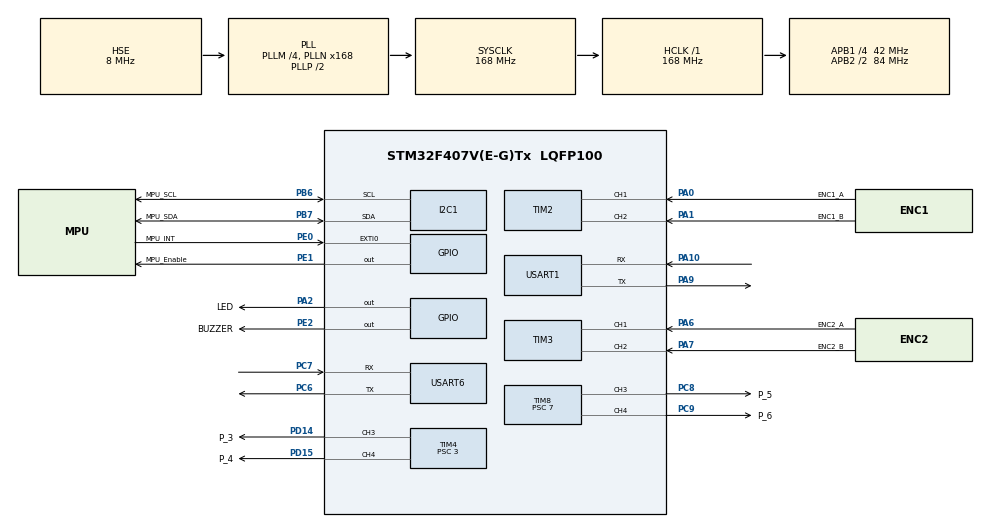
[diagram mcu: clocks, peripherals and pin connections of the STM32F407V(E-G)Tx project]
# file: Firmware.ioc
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Dma.Request0=USART1_RX
Dma.USART1_RX.0.Direction=DMA_PERIPH_TO_MEMORY
Dma.USART1_RX.0.FIFOMode=DMA_FIFOMODE_DISABLE
Dma.USART1_RX.0.Instance=DMA2_Stream2
Dma.USART1_RX.0.MemDataAlignment=DMA_MDATAALIGN_BYTE
Dma.USART1_RX.0.MemInc=DMA_MINC_ENABLE
Dma.USART1_RX.0.Mode=DMA_NORMAL
Dma.USART1_RX.0.PeriphDataAlignment=DMA_PDATAALIGN_BYTE
Dma.USART1_RX.0.PeriphInc=DMA_PINC_DISABLE
Dma.USART1_RX.0.Priority=DMA_PRIORITY_LOW
I2C1.I2C_Mode=I2C_Fast
Mcu.Family=STM32F4
Mcu.Name=STM32F407V(E-G)Tx
Mcu.Package=LQFP100
NVIC.DMA2_Stream2_IRQn=true\:0\:0\:false\:false\:true\:false\:true\:true
NVIC.EXTI0_IRQn=true\:0\:0\:false\:false\:true\:true\:true\:true
NVIC.PriorityGroup=NVIC_PRIORITYGROUP_4
NVIC.TIM2_IRQn=true\:0\:0\:false\:false\:true\:true\:true\:true
NVIC.TIM3_IRQn=true\:0\:0\:false\:false\:true\:true\:true\:true
NVIC.TIM5_IRQn=true\:0\:0\:false\:false\:true\:true\:true\:true
NVIC.USART1_IRQn=true\:0\:0\:false\:false\:true\:true\:true\:true
NVIC.USART6_IRQn=true\:0\:0\:false\:false\:true\:true\:true\:true
PA0-WKUP.GPIO_Label=ENC1_A
PA0-WKUP.GPIO_PuPd=GPIO_PULLUP
PA0-WKUP.Signal=S_TIM2_CH1_ETR
PA1.GPIO_Label=ENC1_B
PA1.GPIO_PuPd=GPIO_PULLUP
PA1.Signal=S_TIM2_CH2
PA10.Mode=Asynchronous
PA10.Signal=USART1_RX
PA2.GPIO_Label=LED
PA2.Signal=GPIO_Output
PA6.GPIO_Label=ENC2_A
PA6.GPIO_PuPd=GPIO_PULLUP
PA6.Signal=S_TIM3_CH1
PA7.GPIO_Label=ENC2_B
PA7.GPIO_PuPd=GPIO_PULLUP
PA7.Signal=S_TIM3_CH2
PA9.Mode=Asynchronous
PA9.Signal=USART1_TX
PB6.GPIO_Label=MPU_SCL
PB6.Mode=I2C
PB6.Signal=I2C1_SCL
PB7.GPIO_Label=MPU_SDA
PB7.Mode=I2C
PB7.Signal=I2C1_SDA
PC6.Mode=Asynchronous
PC6.Signal=USART6_TX
PC7.Mode=Asynchronous
PC7.Signal=USART6_RX
PC8.GPIO_Label=P_5
PC8.Signal=S_TIM8_CH3
PC9.GPIO_Label=P_6
PC9.Signal=S_TIM8_CH4
PD14.GPIO_Label=P_3
PD14.Signal=S_TIM4_CH3
PD15.GPIO_Label=P_4
PD15.Signal=S_TIM4_CH4
PE0.GPIO_Label=MPU_INT
PE0.Signal=GPXTI0
PE1.GPIO_Label=MPU_Enable
PE1.Signal=GPIO_Output
PE2.GPIO_Label=BUZZER
PE2.Signal=GPIO_Output
PH0-OSC_IN.Mode=HSE-External-Oscillator
PH0-OSC_IN.Signal=RCC_OSC_IN
PH1-OSC_OUT.Mode=HSE-External-Oscillator
PH1-OSC_OUT.Signal=RCC_OSC_OUT
ProjectManager.HeapSize=0x200
ProjectManager.StackSize=0x400
ProjectManager.TargetToolchain=MDK-ARM V5.32
RCC.48MHZClocksFreq_Value=84000000
RCC.AHBFreq_Value=168000000
RCC.APB1CLKDivider=RCC_HCLK_DIV4
RCC.APB1Freq_Value=42000000
RCC.APB1TimFreq_Value=84000000
RCC.APB2CLKDivider=RCC_HCLK_DIV2
RCC.APB2Freq_Value=84000000
RCC.APB2TimFreq_Value=168000000
RCC.CortexFreq_Value=168000000
RCC.HCLKFreq_Value=168000000
RCC.HSE_VALUE=8000000
RCC.HSI_VALUE=16000000
RCC.LSE_VALUE=32768
RCC.PLLM=4
RCC.PLLN=168
RCC.PLLSourceVirtual=RCC_PLLSOURCE_HSE
RCC.SYSCLKFreq_VALUE=168000000
RCC.SYSCLKSource=RCC_SYSCLKSOURCE_PLLCLK
RCC.VCOOutputFreq_Value=336000000
SH.S_TIM2_CH1_ETR.0=TIM2_CH1,Encoder_Interface
SH.S_TIM2_CH2.0=TIM2_CH2,Encoder_Interface
SH.S_TIM3_CH1.0=TIM3_CH1,Encoder_Interface
SH.S_TIM3_CH2.0=TIM3_CH2,Encoder_Interface
SH.S_TIM4_CH3.0=TIM4_CH3,PWM Generation3 CH3
SH.S_TIM4_CH4.0=TIM4_CH4,PWM Generation4 CH4
SH.S_TIM8_CH3.0=TIM8_CH3,PWM Generation3 CH3
SH.S_TIM8_CH4.0=TIM8_CH4,PWM Generation4 CH4
TIM2.EncoderMode=TIM_ENCODERMODE_TI12
TIM3.EncoderMode=TIM_ENCODERMODE_TI12
TIM4.Channel-PWM\ Generation3\ CH3=TIM_CHANNEL_3
TIM4.Channel-PWM\ Generation4\ CH4=TIM_CHANNEL_4
TIM4.Period=20999
TIM4.Prescaler=3
TIM5.Period=99
TIM5.Prescaler=8399
TIM8.Channel-PWM\ Generation3\ CH3=TIM_CHANNEL_3
TIM8.Channel-PWM\ Generation4\ CH4=TIM_CHANNEL_4
TIM8.Period=20999
TIM8.Prescaler=7
USART1.VirtualMode=VM_ASYNC
USART6.VirtualMode=VM_ASYNC
VP_TIM5_VS_ClockSourceINT.Mode=Internal
board=custom

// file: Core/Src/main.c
/* USER CODE BEGIN Header */
/**
  ******************************************************************************
  * @file           : main.c
  * @brief          : DATN AMR ROBOT - MPU6050 Direct I2C & Encoder Base
  ******************************************************************************
  */
/* USER CODE END Header */
#include "main.h"

/* USER CODE BEGIN Includes */
#include "MPU6050_normal.h"
#include "encoder.h"
#include <stdio.h>
#include <string.h>
#include <math.h>
/* USER CODE END Includes */

/* USER CODE BEGIN PD */

#define ARR_MAX_L     20999
#define PID_LIMIT_L   ARR_MAX_L

#define ARR_MAX_R     20999
#define PID_LIMIT_R   ARR_MAX_R

#define Ts            0.01f
#define ARR_MIN       10
#define Base_Link     0.31548f

/* USER CODE END PD */

I2C_HandleTypeDef hi2c1;

TIM_HandleTypeDef htim2;
TIM_HandleTypeDef htim3;
TIM_HandleTypeDef htim4;
TIM_HandleTypeDef htim5;
TIM_HandleTypeDef htim8;

UART_HandleTypeDef huart1;
UART_HandleTypeDef huart6;
DMA_HandleTypeDef hdma_usart1_rx;

/* USER CODE BEGIN PV */
/*=========================== FRAME PARAM ==============================*/
const float WHEEL_RADIUS = 0.05f;
const float DEG_TO_RAD   = 0.0174532925f;

/*=========================== ENCODER PARAM ============================*/
Encoder_t LeftEncoder;
Encoder_t RightEncoder;

volatile int32_t pulse_left = 0;
volatile float left_rad_raw = 0.0f;
volatile float left_vel_raw = 0.0f;

volatile int32_t pulse_right = 0;
volatile float right_rad_raw = 0.0f;
volatile float right_vel_raw = 0.0f;

/*=========================== PI_VEL PARAMETER =========================*/
volatile uint8_t pid_trigger = 0;

// Left side velocity control
float Kp_L = 560.0f;
float Ki_L = 6000.0f;
float Kb_L = 0.0f;
float error_sat_p_L = 0.0f;
float error_sat_L   = 0.0f;
float ui_p_L        = 0.0f;
volatile float setpoint_L      = 0.0f;
volatile int16_t motor_L_output = 0;

// Right side velocity control
float Kp_R = 470.0f;
float Ki_R = 5000.0f;
float Kb_R = 0.0f;
float error_sat_p_R = 0.0f;
float error_sat_R   = 0.0f;
float ui_p_R        = 0.0f;
volatile float setpoint_R      = 0.0f;
volatile int16_t motor_R_output = 0;

/*=========================== UART & ODOMETRY ==========================*/
// Received data from Pi
uint8_t rxFrame[10];
float linear_x  = 0.0f;
float angular_z = 0.0f;
volatile uint16_t uart_timeout_counter = 0;

// Transmitted Odometry data to Pi
uint8_t txFrame[14];
float x     = 0.0f;
float y     = 0.0f;
float theta = 0.0f;
/* USER CODE END PV */

void SystemClock_Config(void);
static void MX_GPIO_Init(void);
static void MX_DMA_Init(void);
static void MX_USART1_UART_Init(void);
static void MX_I2C1_Init(void);
static void MX_TIM2_Init(void);
static void MX_TIM3_Init(void);
static void MX_TIM4_Init(void);
static void MX_TIM8_Init(void);
static void MX_TIM5_Init(void);
static void MX_USART6_UART_Init(void);
/* USER CODE BEGIN PFP */
void encoder_process(void);
void PI_vel(float rad_L, float rad_R);
void Set_Motor(int16_t left_output, int16_t right_output);
void AMR_Teleop_Process(void);
void UART1_Send_Odom(float x_pos, float y_pos, float theta_pos);
void Update_Odometry(void);
/* USER CODE END PFP */

/* USER CODE BEGIN 0 */

/*================== CALCULATE ENCODER ======================*/
void encoder_process(void)
{
    Encoder_Update(&LeftEncoder);
    Encoder_Update(&RightEncoder);

    pulse_left    = -LeftEncoder.encoder_position;
    left_rad_raw  = -LeftEncoder.speed_rad_s;
    left_vel_raw  = -LeftEncoder.velocity_m_s;

    pulse_right   = -RightEncoder.encoder_position;
    right_rad_raw = -RightEncoder.speed_rad_s;
    right_vel_raw = -RightEncoder.velocity_m_s;
}

/*=================== PI VELOCITY CONTROL ===================*/
void PI_vel(float rad_L, float rad_R)
{
    static uint8_t was_running_L = 0;
    static uint8_t was_running_R = 0;

    // ==================== 1. LEFT WHEEL ====================
    if (fabsf(setpoint_L) > 0.05f)
    {
        if (!was_running_L)
        {
            ui_p_L = 0.0f;
            error_sat_p_L = 0.0f;
            was_running_L = 1;
        }

        float error_L   = setpoint_L - rad_L;
        float up_L      = Kp_L * error_L;
        float ui_L      = ui_p_L + Ts * (Ki_L * error_L + Kb_L * error_sat_p_L);
        float out_L_raw = up_L + ui_L;

        if (out_L_raw > PID_LIMIT_L) {
            motor_L_output = PID_LIMIT_L;
            error_sat_L = PID_LIMIT_L - out_L_raw;
        } else if (out_L_raw < -PID_LIMIT_L) {
            motor_L_output = -PID_LIMIT_L;
            error_sat_L = -PID_LIMIT_L - out_L_raw;
        } else {
            motor_L_output = (int16_t)out_L_raw;
            error_sat_L = 0.0f;
        }

        ui_p_L = ui_L;
        error_sat_p_L = error_sat_L;
    }
    else
    {
        motor_L_output = 0;
        ui_p_L = 0.0f;
        error_sat_p_L = 0.0f;
        was_running_L = 0;
    }

    // ==================== 2. RIGHT WHEEL ====================
    if (fabsf(setpoint_R) > 0.05f)
    {
        if (!was_running_R)
        {
            ui_p_R = 0.0f;
            error_sat_p_R = 0.0f;
            was_running_R = 1;
        }

        float error_R   = setpoint_R - rad_R;
        float up_R      = Kp_R * error_R;
        float ui_R      = ui_p_R + Ts * (Ki_R * error_R + Kb_R * error_sat_p_R);
        float out_R_raw = up_R + ui_R;

        if (out_R_raw > PID_LIMIT_R) {
            motor_R_output = PID_LIMIT_R;
            error_sat_R = PID_LIMIT_R - out_R_raw;
        } else if (out_R_raw < -PID_LIMIT_R) {
            motor_R_output = -PID_LIMIT_R;
            error_sat_R = -PID_LIMIT_R - out_R_raw;
        } else {
            motor_R_output = (int16_t)out_R_raw;
            error_sat_R = 0.0f;
        }

        ui_p_R = ui_R;
        error_sat_p_R = error_sat_R;
    }
    else
    {
        motor_R_output = 0;
        ui_p_R = 0.0f;
        error_sat_p_R = 0.0f;
        was_running_R = 0;
    }
}

/*======================== MOTOR CONTROL ========================*/
void Set_Motor(int16_t left_output, int16_t right_output)
{
    if (left_output >= 0) {
        if (left_output > ARR_MAX_L) left_output = ARR_MAX_L;
        TIM8->CCR3 = ARR_MIN;
        TIM8->CCR4 = left_output;
    }
    else {
        left_output = -left_output;
        if (left_output > ARR_MAX_L) left_output = ARR_MAX_L;
        TIM8->CCR3 = left_output;
        TIM8->CCR4 = ARR_MIN;
    }

    if (right_output >= 0) {
        if (right_output > ARR_MAX_R) right_output = ARR_MAX_R;
        TIM4->CCR3 = right_output;
        TIM4->CCR4 = ARR_MIN;
    }
    else {
        right_output = -right_output;
        if (right_output > ARR_MAX_R) right_output = ARR_MAX_R;
        TIM4->CCR3 = ARR_MIN;
        TIM4->CCR4 = right_output;
    }
}

/*==================== PROCESS RECEIVED DATA =====================*/
void AMR_Teleop_Process(void)
{
    uart_timeout_counter += 10;
    if (uart_timeout_counter > 200)
    {
        linear_x  = 0.0f;
        angular_z = 0.0f;
    }

    float v_left_m_s  = linear_x - (angular_z * (Base_Link / 2.0f));
    float v_right_m_s = linear_x + (angular_z * (Base_Link / 2.0f));

    setpoint_L = v_left_m_s / WHEEL_RADIUS;
    setpoint_R = v_right_m_s / WHEEL_RADIUS;
}

/*=========================== RECEIVE DATA (UART1) ===========================*/
void HAL_UARTEx_RxEventCallback(UART_HandleTypeDef *huart, uint16_t Size)
{
    if (huart->Instance == USART1)
    {
        __HAL_UNLOCK(&huart1);
        HAL_UARTEx_ReceiveToIdle_DMA(&huart1, rxFrame, 10);
        __HAL_DMA_DISABLE_IT(&hdma_usart1_rx, DMA_IT_HT);

        if (rxFrame[0] == 0xAA && rxFrame[9] == 0x0D)
        {
            memcpy(&linear_x,  &rxFrame[1], 4);
            memcpy(&angular_z, &rxFrame[5], 4);
            uart_timeout_counter = 0;
        }
    }
}

/*======================= TIMER 5 (10ms) INTERRUPT ========================*/
void HAL_TIM_PeriodElapsedCallback(TIM_HandleTypeDef *htim)
{
    if (htim->Instance == TIM5)
    {
        pid_trigger = 1;
    }
}

/*========================= ODOM TRANSMIT (UART1) ======================*/
void UART1_Send_Odom(float x_pos, float y_pos, float theta_pos)
{
    txFrame[0] = 0xAA;

    memcpy(&txFrame[1], &x_pos, 4);
    memcpy(&txFrame[5], &y_pos, 4);
    memcpy(&txFrame[9], &theta_pos, 4);

    txFrame[13] = 0x0D;

    HAL_UART_Transmit(&huart1, txFrame, sizeof(txFrame), 10);
}

/*========================= CALCULATE ODOM ======================*/
void Update_Odometry(void)
{
    theta = Robot_Yaw * DEG_TO_RAD;

    float v_robot = (left_vel_raw + right_vel_raw) / 2.0f;

    x += v_robot * cosf(theta) * Ts;
    y += v_robot * sinf(theta) * Ts;

    while (theta >  3.14159265f)
        theta -= 2.0f * 3.14159265f;
    while (theta < -3.14159265f)
        theta += 2.0f * 3.14159265f;
}

/* USER CODE END 0 */

int main(void)
{

  /* MCU Configuration--------------------------------------------------------*/

  /* Reset of all peripherals, Initializes the Flash interface and the Systick. */
  HAL_Init();

  /* Configure the system clock */
  SystemClock_Config();

  /* Initialize all configured peripherals */
  MX_GPIO_Init();
  MX_DMA_Init();
  MX_USART1_UART_Init();
  MX_I2C1_Init();
  MX_TIM2_Init();
  MX_TIM3_Init();
  MX_TIM4_Init();
  MX_TIM8_Init();
  MX_TIM5_Init();
  MX_USART6_UART_Init();
  /* USER CODE BEGIN 2 */
  GPIOA->ODR &= ~(1 << 2);   // POWER LED
  GPIOE->ODR &= ~(1 << 1);   // ENABLE MPU6050 (Keo PE1 xuong GND)
  HAL_Delay(100);

  // 1. KHOI TAO VA CAN CHINH MPU6050 TRUC TIEP (Comment khi chi tune PID)
  uint8_t mpu_status = 1;
	for (uint8_t retry = 0; retry < 10; retry++)
	{
			if (MPU6050_Init_Direct() == 0)
			{
					mpu_status = 0;
					break; // Khoi tao thanh cong -> thoat vong lap
			}
			HAL_Delay(50); // Cho them 50ms truoc khi thu lai
	}

	// Neu sau 10 lan van loi moi bao dong coi
	if (mpu_status != 0)
	{
			while (1)
			{
					GPIOE->ODR ^= (1 << 2); // Chop coi bao dong
					HAL_Delay(100);
			}
	}

  // Can chinh tinh Offset Gyro (Giu yen bo mach ~1s tren ban)
  MPU6050_Calibrate_Gyro();

  // 2. KHOI TAO PWM DONG CO
  HAL_TIM_PWM_Start(&htim4, TIM_CHANNEL_3);
  HAL_TIM_PWM_Start(&htim4, TIM_CHANNEL_4);
  HAL_TIM_PWM_Start(&htim8, TIM_CHANNEL_3);
  HAL_TIM_PWM_Start(&htim8, TIM_CHANNEL_4);

  // 3. KHOI TAO ENCODER
  Encoder_Init(&LeftEncoder, TIM2);
  Encoder_Init(&RightEncoder, TIM3);
  HAL_TIM_Encoder_Start(&htim2, TIM_CHANNEL_ALL);
  HAL_TIM_Encoder_Start(&htim3, TIM_CHANNEL_ALL);

  // 4. BAT NGAT TIMER 5 (10ms chu ky dieu khien)
  HAL_TIM_Base_Start_IT(&htim5);

  // 5. BAT NHAN DMA CHO UART TELEOP (Comment khi chi tune PID)
  HAL_UARTEx_ReceiveToIdle_DMA(&huart1, rxFrame, 10);
  __HAL_DMA_DISABLE_IT(&hdma_usart1_rx, DMA_IT_HT);

  Kb_L = (Kp_L > 0.001f) ? (Ki_L / Kp_L) : 0.0f;
  Kb_R = (Kp_R > 0.001f) ? (Ki_R / Kp_R) : 0.0f;

  // 6. KEU 3 TIENG BIP BAO SAN SANG
  if (Is_Calibrated == 1)
  {
      for (int i = 0; i < 3; i++) {
          GPIOE->ODR |= (1 << 2);
          HAL_Delay(50);
          GPIOE->ODR &= ~(1 << 2);
          HAL_Delay(50);
      }
  }
  /* USER CODE END 2 */

  /* Infinite loop */
  while (1)
  {

    /* USER CODE BEGIN 3 */
    // Vong dieu khien chay theo ngat TIM5 (10ms)
    if (pid_trigger == 1)
    {
        pid_trigger = 0;

        // 1. Doc cam bien MPU6050 va Encoder
        MPU6050_Read_Accel_Raw();
        IMU_Process_Yaw();
        encoder_process();

        // 2. Cap nhat Odometry va xu ly van toc dat tu Pi
        Update_Odometry();
        AMR_Teleop_Process();

        // 3. Dieu khien PI van toc 2 banh xe
        PI_vel(left_rad_raw, right_rad_raw);
        Set_Motor(motor_L_output, motor_R_output);

        // 4. Gui Odometry len Pi voi chu ky 20ms (50Hz)
        static uint8_t send_odom_counter = 0;
        if (++send_odom_counter >= 2) {
            send_odom_counter = 0;
            UART1_Send_Odom(x, y, theta);
        }
    }
  }
  /* USER CODE END 3 */
}

void SystemClock_Config(void)
{
  RCC_OscInitTypeDef RCC_OscInitStruct = {0};
  RCC_ClkInitTypeDef RCC_ClkInitStruct = {0};

  /** Configure the main internal regulator output voltage
  */
  __HAL_RCC_PWR_CLK_ENABLE();
  __HAL_PWR_VOLTAGESCALING_CONFIG(PWR_REGULATOR_VOLTAGE_SCALE1);

  /** Initializes the RCC Oscillators according to the specified parameters
  * in the RCC_OscInitTypeDef structure.
  */
  RCC_OscInitStruct.OscillatorType = RCC_OSCILLATORTYPE_HSE;
  RCC_OscInitStruct.HSEState = RCC_HSE_ON;
  RCC_OscInitStruct.PLL.PLLState = RCC_PLL_ON;
  RCC_OscInitStruct.PLL.PLLSource = RCC_PLLSOURCE_HSE;
  RCC_OscInitStruct.PLL.PLLM = 4;
  RCC_OscInitStruct.PLL.PLLN = 168;
  RCC_OscInitStruct.PLL.PLLP = RCC_PLLP_DIV2;
  RCC_OscInitStruct.PLL.PLLQ = 4;
  if (HAL_RCC_OscConfig(&RCC_OscInitStruct) != HAL_OK)
  {
    Error_Handler();
  }

  /** Initializes the CPU, AHB and APB buses clocks
  */
  RCC_ClkInitStruct.ClockType = RCC_CLOCKTYPE_HCLK|RCC_CLOCKTYPE_SYSCLK
                              |RCC_CLOCKTYPE_PCLK1|RCC_CLOCKTYPE_PCLK2;
  RCC_ClkInitStruct.SYSCLKSource = RCC_SYSCLKSOURCE_PLLCLK;
  RCC_ClkInitStruct.AHBCLKDivider = RCC_SYSCLK_DIV1;
  RCC_ClkInitStruct.APB1CLKDivider = RCC_HCLK_DIV4;
  RCC_ClkInitStruct.APB2CLKDivider = RCC_HCLK_DIV2;

  if (HAL_RCC_ClockConfig(&RCC_ClkInitStruct, FLASH_LATENCY_5) != HAL_OK)
  {
    Error_Handler();
  }
}

static void MX_I2C1_Init(void)
{

  hi2c1.Instance = I2C1;
  hi2c1.Init.ClockSpeed = 400000;
  hi2c1.Init.DutyCycle = I2C_DUTYCYCLE_2;
  hi2c1.Init.OwnAddress1 = 0;
  hi2c1.Init.AddressingMode = I2C_ADDRESSINGMODE_7BIT;
  hi2c1.Init.DualAddressMode = I2C_DUALADDRESS_DISABLE;
  hi2c1.Init.OwnAddress2 = 0;
  hi2c1.Init.GeneralCallMode = I2C_GENERALCALL_DISABLE;
  hi2c1.Init.NoStretchMode = I2C_NOSTRETCH_DISABLE;
  if (HAL_I2C_Init(&hi2c1) != HAL_OK)
  {
    Error_Handler();
  }

}

static void MX_TIM2_Init(void)
{

  TIM_Encoder_InitTypeDef sConfig = {0};
  TIM_MasterConfigTypeDef sMasterConfig = {0};

  htim2.Instance = TIM2;
  htim2.Init.Prescaler = 0;
  htim2.Init.CounterMode = TIM_COUNTERMODE_UP;
  htim2.Init.Period = 4294967295;
  htim2.Init.ClockDivision = TIM_CLOCKDIVISION_DIV1;
  htim2.Init.AutoReloadPreload = TIM_AUTORELOAD_PRELOAD_DISABLE;
  sConfig.EncoderMode = TIM_ENCODERMODE_TI12;
  sConfig.IC1Polarity = TIM_ICPOLARITY_RISING;
  sConfig.IC1Selection = TIM_ICSELECTION_DIRECTTI;
  sConfig.IC1Prescaler = TIM_ICPSC_DIV1;
  sConfig.IC1Filter = 0;
  sConfig.IC2Polarity = TIM_ICPOLARITY_RISING;
  sConfig.IC2Selection = TIM_ICSELECTION_DIRECTTI;
  sConfig.IC2Prescaler = TIM_ICPSC_DIV1;
  sConfig.IC2Filter = 0;
  if (HAL_TIM_Encoder_Init(&htim2, &sConfig) != HAL_OK)
  {
    Error_Handler();
  }
  sMasterConfig.MasterOutputTrigger = TIM_TRGO_RESET;
  sMasterConfig.MasterSlaveMode = TIM_MASTERSLAVEMODE_DISABLE;
  if (HAL_TIMEx_MasterConfigSynchronization(&htim2, &sMasterConfig) != HAL_OK)
  {
    Error_Handler();
  }

}

static void MX_TIM3_Init(void)
{

  TIM_Encoder_InitTypeDef sConfig = {0};
  TIM_MasterConfigTypeDef sMasterConfig = {0};

  htim3.Instance = TIM3;
  htim3.Init.Prescaler = 0;
  htim3.Init.CounterMode = TIM_COUNTERMODE_UP;
  htim3.Init.Period = 65535;
  htim3.Init.ClockDivision = TIM_CLOCKDIVISION_DIV1;
  htim3.Init.AutoReloadPreload = TIM_AUTORELOAD_PRELOAD_DISABLE;
  sConfig.EncoderMode = TIM_ENCODERMODE_TI12;
  sConfig.IC1Polarity = TIM_ICPOLARITY_RISING;
  sConfig.IC1Selection = TIM_ICSELECTION_DIRECTTI;
  sConfig.IC1Prescaler = TIM_ICPSC_DIV1;
  sConfig.IC1Filter = 0;
  sConfig.IC2Polarity = TIM_ICPOLARITY_RISING;
  sConfig.IC2Selection = TIM_ICSELECTION_DIRECTTI;
  sConfig.IC2Prescaler = TIM_ICPSC_DIV1;
  sConfig.IC2Filter = 0;
  if (HAL_TIM_Encoder_Init(&htim3, &sConfig) != HAL_OK)
  {
    Error_Handler();
  }
  sMasterConfig.MasterOutputTrigger = TIM_TRGO_RESET;
  sMasterConfig.MasterSlaveMode = TIM_MASTERSLAVEMODE_DISABLE;
  if (HAL_TIMEx_MasterConfigSynchronization(&htim3, &sMasterConfig) != HAL_OK)
  {
    Error_Handler();
  }

}

static void MX_TIM4_Init(void)
{

  TIM_MasterConfigTypeDef sMasterConfig = {0};
  TIM_OC_InitTypeDef sConfigOC = {0};

  htim4.Instance = TIM4;
  htim4.Init.Prescaler = 3;
  htim4.Init.CounterMode = TIM_COUNTERMODE_UP;
  htim4.Init.Period = 20999;
  htim4.Init.ClockDivision = TIM_CLOCKDIVISION_DIV1;
  htim4.Init.AutoReloadPreload = TIM_AUTORELOAD_PRELOAD_DISABLE;
  if (HAL_TIM_PWM_Init(&htim4) != HAL_OK)
  {
    Error_Handler();
  }
  sMasterConfig.MasterOutputTrigger = TIM_TRGO_RESET;
  sMasterConfig.MasterSlaveMode = TIM_MASTERSLAVEMODE_DISABLE;
  if (HAL_TIMEx_MasterConfigSynchronization(&htim4, &sMasterConfig) != HAL_OK)
  {
    Error_Handler();
  }
  sConfigOC.OCMode = TIM_OCMODE_PWM1;
  sConfigOC.Pulse = 0;
  sConfigOC.OCPolarity = TIM_OCPOLARITY_HIGH;
  sConfigOC.OCFastMode = TIM_OCFAST_DISABLE;
  if (HAL_TIM_PWM_ConfigChannel(&htim4, &sConfigOC, TIM_CHANNEL_3) != HAL_OK)
  {
    Error_Handler();
  }
  if (HAL_TIM_PWM_ConfigChannel(&htim4, &sConfigOC, TIM_CHANNEL_4) != HAL_OK)
  {
    Error_Handler();
  }
  HAL_TIM_MspPostInit(&htim4);

}

static void MX_TIM5_Init(void)
{

  TIM_ClockConfigTypeDef sClockSourceConfig = {0};
  TIM_MasterConfigTypeDef sMasterConfig = {0};

  htim5.Instance = TIM5;
  htim5.Init.Prescaler = 8399;
  htim5.Init.CounterMode = TIM_COUNTERMODE_UP;
  htim5.Init.Period = 99;
  htim5.Init.ClockDivision = TIM_CLOCKDIVISION_DIV1;
  htim5.Init.AutoReloadPreload = TIM_AUTORELOAD_PRELOAD_DISABLE;
  if (HAL_TIM_Base_Init(&htim5) != HAL_OK)
  {
    Error_Handler();
  }
  sClockSourceConfig.ClockSource = TIM_CLOCKSOURCE_INTERNAL;
  if (HAL_TIM_ConfigClockSource(&htim5, &sClockSourceConfig) != HAL_OK)
  {
    Error_Handler();
  }
  sMasterConfig.MasterOutputTrigger = TIM_TRGO_RESET;
  sMasterConfig.MasterSlaveMode = TIM_MASTERSLAVEMODE_DISABLE;
  if (HAL_TIMEx_MasterConfigSynchronization(&htim5, &sMasterConfig) != HAL_OK)
  {
    Error_Handler();
  }

}

static void MX_TIM8_Init(void)
{

  TIM_MasterConfigTypeDef sMasterConfig = {0};
  TIM_OC_InitTypeDef sConfigOC = {0};
  TIM_BreakDeadTimeConfigTypeDef sBreakDeadTimeConfig = {0};

  htim8.Instance = TIM8;
  htim8.Init.Prescaler = 7;
  htim8.Init.CounterMode = TIM_COUNTERMODE_UP;
  htim8.Init.Period = 20999;
  htim8.Init.ClockDivision = TIM_CLOCKDIVISION_DIV1;
  htim8.Init.RepetitionCounter = 0;
  htim8.Init.AutoReloadPreload = TIM_AUTORELOAD_PRELOAD_DISABLE;
  if (HAL_TIM_PWM_Init(&htim8) != HAL_OK)
  {
    Error_Handler();
  }
  sMasterConfig.MasterOutputTrigger = TIM_TRGO_RESET;
  sMasterConfig.MasterSlaveMode = TIM_MASTERSLAVEMODE_DISABLE;
  if (HAL_TIMEx_MasterConfigSynchronization(&htim8, &sMasterConfig) != HAL_OK)
  {
    Error_Handler();
  }
  sConfigOC.OCMode = TIM_OCMODE_PWM1;
  sConfigOC.Pulse = 0;
  sConfigOC.OCPolarity = TIM_OCPOLARITY_HIGH;
  sConfigOC.OCNPolarity = TIM_OCNPOLARITY_HIGH;
  sConfigOC.OCFastMode = TIM_OCFAST_DISABLE;
  sConfigOC.OCIdleState = TIM_OCIDLESTATE_RESET;
  sConfigOC.OCNIdleState = TIM_OCNIDLESTATE_RESET;
  if (HAL_TIM_PWM_ConfigChannel(&htim8, &sConfigOC, TIM_CHANNEL_3) != HAL_OK)
  {
    Error_Handler();
  }
  if (HAL_TIM_PWM_ConfigChannel(&htim8, &sConfigOC, TIM_CHANNEL_4) != HAL_OK)
  {
    Error_Handler();
  }
  sBreakDeadTimeConfig.OffStateRunMode = TIM_OSSR_DISABLE;
  sBreakDeadTimeConfig.OffStateIDLEMode = TIM_OSSI_DISABLE;
  sBreakDeadTimeConfig.LockLevel = TIM_LOCKLEVEL_OFF;
  sBreakDeadTimeConfig.DeadTime = 0;
  sBreakDeadTimeConfig.BreakState = TIM_BREAK_DISABLE;
  sBreakDeadTimeConfig.BreakPolarity = TIM_BREAKPOLARITY_HIGH;
  sBreakDeadTimeConfig.AutomaticOutput = TIM_AUTOMATICOUTPUT_DISABLE;
  if (HAL_TIMEx_ConfigBreakDeadTime(&htim8, &sBreakDeadTimeConfig) != HAL_OK)
  {
    Error_Handler();
  }
  HAL_TIM_MspPostInit(&htim8);

}

static void MX_USART1_UART_Init(void)
{

  huart1.Instance = USART1;
  huart1.Init.BaudRate = 115200;
  huart1.Init.WordLength = UART_WORDLENGTH_8B;
  huart1.Init.StopBits = UART_STOPBITS_1;
  huart1.Init.Parity = UART_PARITY_NONE;
  huart1.Init.Mode = UART_MODE_TX_RX;
  huart1.Init.HwFlowCtl = UART_HWCONTROL_NONE;
  huart1.Init.OverSampling = UART_OVERSAMPLING_16;
  if (HAL_UART_Init(&huart1) != HAL_OK)
  {
    Error_Handler();
  }

}

static void MX_USART6_UART_Init(void)
{

  huart6.Instance = USART6;
  huart6.Init.BaudRate = 115200;
  huart6.Init.WordLength = UART_WORDLENGTH_8B;
  huart6.Init.StopBits = UART_STOPBITS_1;
  huart6.Init.Parity = UART_PARITY_NONE;
  huart6.Init.Mode = UART_MODE_TX_RX;
  huart6.Init.HwFlowCtl = UART_HWCONTROL_NONE;
  huart6.Init.OverSampling = UART_OVERSAMPLING_16;
  if (HAL_UART_Init(&huart6) != HAL_OK)
  {
    Error_Handler();
  }

}

static void MX_DMA_Init(void)
{

  /* DMA controller clock enable */
  __HAL_RCC_DMA2_CLK_ENABLE();

  /* DMA interrupt init */
  /* DMA2_Stream2_IRQn interrupt configuration */
  HAL_NVIC_SetPriority(DMA2_Stream2_IRQn, 0, 0);
  HAL_NVIC_EnableIRQ(DMA2_Stream2_IRQn);

}

static void MX_GPIO_Init(void)
{
  GPIO_InitTypeDef GPIO_InitStruct = {0};

  /* GPIO Ports Clock Enable */
  __HAL_RCC_GPIOE_CLK_ENABLE();
  __HAL_RCC_GPIOH_CLK_ENABLE();
  __HAL_RCC_GPIOA_CLK_ENABLE();
  __HAL_RCC_GPIOD_CLK_ENABLE();
  __HAL_RCC_GPIOC_CLK_ENABLE();
  __HAL_RCC_GPIOB_CLK_ENABLE();

  /*Configure GPIO pin Output Level */
  HAL_GPIO_WritePin(GPIOE, BUZZER_Pin|MPU_Enable_Pin, GPIO_PIN_RESET);

  /*Configure GPIO pin Output Level */
  HAL_GPIO_WritePin(LED_GPIO_Port, LED_Pin, GPIO_PIN_RESET);

  /*Configure GPIO pins : BUZZER_Pin MPU_Enable_Pin */
  GPIO_InitStruct.Pin = BUZZER_Pin|MPU_Enable_Pin;
  GPIO_InitStruct.Mode = GPIO_MODE_OUTPUT_PP;
  GPIO_InitStruct.Pull = GPIO_NOPULL;
  GPIO_InitStruct.Speed = GPIO_SPEED_FREQ_LOW;
  HAL_GPIO_Init(GPIOE, &GPIO_InitStruct);

  /*Configure GPIO pin : LED_Pin */
  GPIO_InitStruct.Pin = LED_Pin;
  GPIO_InitStruct.Mode = GPIO_MODE_OUTPUT_PP;
  GPIO_InitStruct.Pull = GPIO_NOPULL;
  GPIO_InitStruct.Speed = GPIO_SPEED_FREQ_LOW;
  HAL_GPIO_Init(LED_GPIO_Port, &GPIO_InitStruct);

  /*Configure GPIO pin : MPU_INT_Pin */
  GPIO_InitStruct.Pin = MPU_INT_Pin;
  GPIO_InitStruct.Mode = GPIO_MODE_IT_RISING;
  GPIO_InitStruct.Pull = GPIO_NOPULL;
  HAL_GPIO_Init(MPU_INT_GPIO_Port, &GPIO_InitStruct);

  /* EXTI interrupt init*/
  HAL_NVIC_SetPriority(EXTI0_IRQn, 0, 0);
  HAL_NVIC_EnableIRQ(EXTI0_IRQn);

}

void Error_Handler(void)
{
  __disable_irq();
  while (1)
  {
  }
}
